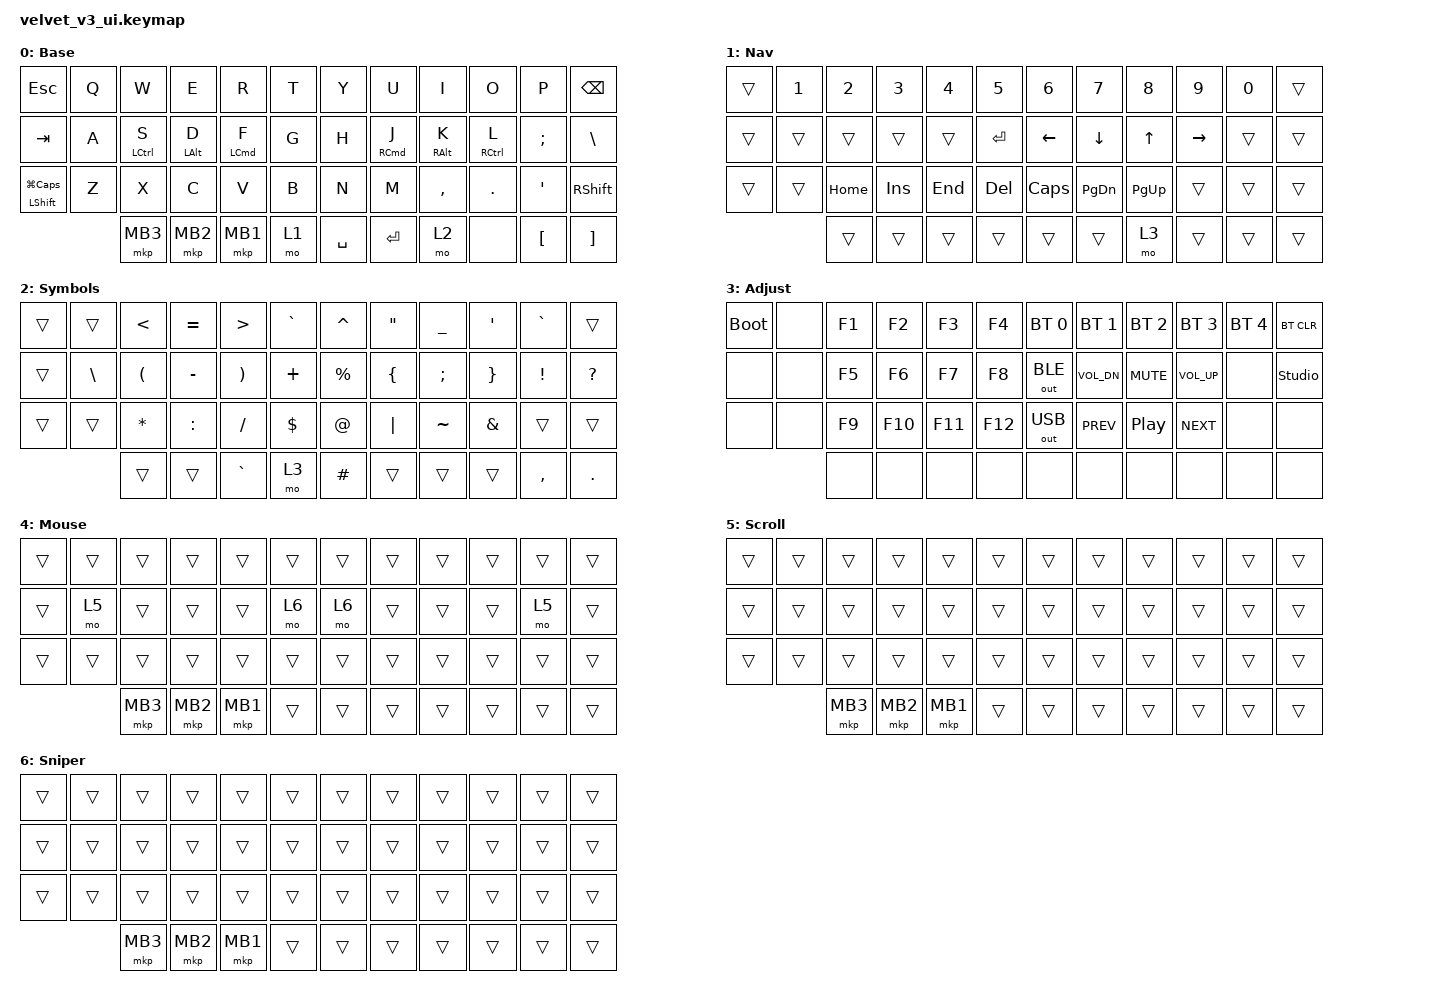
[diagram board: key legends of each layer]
#include "keys_ru.h"
#include <dt-bindings/zmk/input_transform.h>
#include <input/processors.dtsi>
#include <zephyr/dt-bindings/input/input-event-codes.h>
#include <behaviors.dtsi>
#include <dt-bindings/zmk/bt.h>
#include <dt-bindings/zmk/keys.h>
#include <dt-bindings/zmk/outputs.h>
#include <dt-bindings/zmk/pointing.h>

/ {
    behaviors {
        cap_sen: cap_sen {
            compatible = "zmk,behavior-hold-tap";
            label = "CAP_SEN";
            bindings = <&mo>, <&mkp>;

            #binding-cells = <2>;
            tapping-term-ms = <150>;
            hold-while-undecided;
        };

        mouse_layer: mouse_layer {
            compatible = "zmk,behavior-sticky-key";
            label = "MOUSE_LAYER";
            bindings = <&mo>;
            #binding-cells = <1>;
            release-after-ms = <200>;
        };

        zip_auto_mouse: zip_auto_mouse {
            compatible = "zmk,input-processor-temp-layer";
            #input-processor-cells = <2>;
            require-prior-idle-ms = <150>;
            excluded-positions = <>;
        };

        hrm_left: hrm_left {
            compatible = "zmk,behavior-hold-tap";
            label = "HRM_LEFT";
            bindings = <&kp>, <&kp>;

            #binding-cells = <2>;
            tapping-term-ms = <150>;
            flavor = "balanced";
        };

        hrm_right: hrm_right {
            compatible = "zmk,behavior-hold-tap";
            label = "HRM_RIGHT";
            bindings = <&kp>, <&kp>;

            #binding-cells = <2>;
            tapping-term-ms = <150>;
            flavor = "balanced";
        };

        lang_switch: lang_switch {
            compatible = "zmk,behavior-hold-tap";
            label = "LANG_SWITCH";
            bindings = <&kp>, <&kp>;

            #binding-cells = <2>;
            tapping-term-ms = <100>;
        };
    };

    keymap {
        compatible = "zmk,keymap";

        base {
            bindings = <
&kp ESC                          &kp Q  &kp W                     &kp E                 &kp R                     &kp T                        &kp Y  &kp U                       &kp I                   &kp O                       &kp P     &kp BSPC
&kp TAB                          &kp A  &hrm_left LEFT_CONTROL S  &hrm_left LEFT_ALT D  &hrm_left LEFT_COMMAND F  &kp G                        &kp H  &hrm_right RIGHT_COMMAND J  &hrm_right RIGHT_ALT K  &hrm_right RIGHT_CONTROL L  &kp SEMI  &kp BSLH
&lang_switch LSHFT LG(CAPSLOCK)  &kp Z  &kp X                     &kp C                 &kp V                     &kp B                        &kp N  &kp M                       &kp COMMA               &kp DOT                     &kp SQT   &kp RSHFT
                                        &mkp MB3                  &mkp MB2              &mkp MB1                  &mo 1  &kp SPACE    &kp RET  &mo 2  &none                       &kp LBKT                &kp RBKT
            >;

            display-name = "Base";
        };

        nav {
            bindings = <
&trans  &kp N1  &kp N2    &kp N3   &kp N4   &kp N5                     &kp N6    &kp N7         &kp N8       &kp N9     &kp N0  &trans
&trans  &trans  &trans    &trans   &trans   &kp RET                    &kp LEFT  &kp DOWN       &kp UP       &kp RIGHT  &trans  &trans
&trans  &trans  &kp HOME  &kp INS  &kp END  &kp DEL                    &kp CLCK  &kp PAGE_DOWN  &kp PAGE_UP  &trans     &trans  &trans
                &trans    &trans   &trans   &trans   &trans    &trans  &mo 3     &trans         &trans       &trans
            >;

            display-name = "Nav";
        };

        sym {
            bindings = <
&trans  &trans    &kp LT    &kp EQUAL  &kp GT     &kp GRAVE                      &kp CARET  &kp DQT   &kp UNDER  &kp SQT   &kp GRAVE  &trans
&trans  &kp BSLH  &kp LPAR  &kp MINUS  &kp RPAR   &kp PLUS                       &kp PRCNT  &kp LBRC  &kp SEMI   &kp RBRC  &kp EXCL   &kp QUESTION
&trans  &trans    &kp STAR  &kp COLON  &kp FSLH   &kp DLLR                       &kp AT     &kp PIPE  &kp TILDE  &kp AMPS  &trans     &trans
                  &trans    &trans     &kp GRAVE  &mo 3      &kp HASH    &trans  &trans     &trans    &kp COMMA  &kp DOT
            >;

            display-name = "Symbols";
        };

        adj {
            bindings = <
&bootloader  &none  &kp F1  &kp F2   &kp F3   &kp F4                   &bt BT_SEL 0  &bt BT_SEL 1  &bt BT_SEL 2      &bt BT_SEL 3  &bt BT_SEL 4  &bt BT_CLR
&none        &none  &kp F5  &kp F6   &kp F7   &kp F8                   &out OUT_BLE  &kp C_VOL_DN  &kp C_MUTE        &kp C_VOL_UP  &none         &studio_unlock
&none        &none  &kp F9  &kp F10  &kp F11  &kp F12                  &out OUT_USB  &kp C_PREV    &kp C_PLAY_PAUSE  &kp C_NEXT    &none         &none
                    &none   &none    &none    &none    &none    &none  &none         &none         &none             &none
            >;

            display-name = "Adjust";
        };

        mouse {
            bindings = <
&trans  &trans  &trans    &trans    &trans    &trans                    &trans  &trans  &trans  &trans  &trans  &trans
&trans  &mo 5   &trans    &trans    &trans    &mo 6                     &mo 6   &trans  &trans  &trans  &mo 5   &trans
&trans  &trans  &trans    &trans    &trans    &trans                    &trans  &trans  &trans  &trans  &trans  &trans
                &mkp MB3  &mkp MB2  &mkp MB1  &trans  &trans    &trans  &trans  &trans  &trans  &trans
            >;

            display-name = "Mouse";
        };

        scroll {
            bindings = <
&trans  &trans  &trans    &trans    &trans    &trans                    &trans  &trans  &trans  &trans  &trans  &trans
&trans  &trans  &trans    &trans    &trans    &trans                    &trans  &trans  &trans  &trans  &trans  &trans
&trans  &trans  &trans    &trans    &trans    &trans                    &trans  &trans  &trans  &trans  &trans  &trans
                &mkp MB3  &mkp MB2  &mkp MB1  &trans  &trans    &trans  &trans  &trans  &trans  &trans
            >;

            display-name = "Scroll";
        };

        sniper {
            bindings = <
&trans  &trans  &trans    &trans    &trans    &trans                    &trans  &trans  &trans  &trans  &trans  &trans
&trans  &trans  &trans    &trans    &trans    &trans                    &trans  &trans  &trans  &trans  &trans  &trans
&trans  &trans  &trans    &trans    &trans    &trans                    &trans  &trans  &trans  &trans  &trans  &trans
                &mkp MB3  &mkp MB2  &mkp MB1  &trans  &trans    &trans  &trans  &trans  &trans  &trans
            >;

            display-name = "Sniper";
        };
    };
};

&trackball { cpi = <1000>; };

&trackball_listener {
    input-processors = <&zip_xy_scaler 9 20>;

    movement {
        layers = <4>;
        input-processors = <&zip_xy_scaler 9 20>;
    };

    scroller {
        layers = <5>;
        input-processors =
            <&zip_xy_transform INPUT_TRANSFORM_Y_INVERT>,
            <&zip_xy_scaler 1 32>,
            <&zip_xy_to_scroll_mapper>;
    };

    sniper {
        layers = <6>;
        input-processors = <&zip_xy_scaler 1 4>;
    };
};
